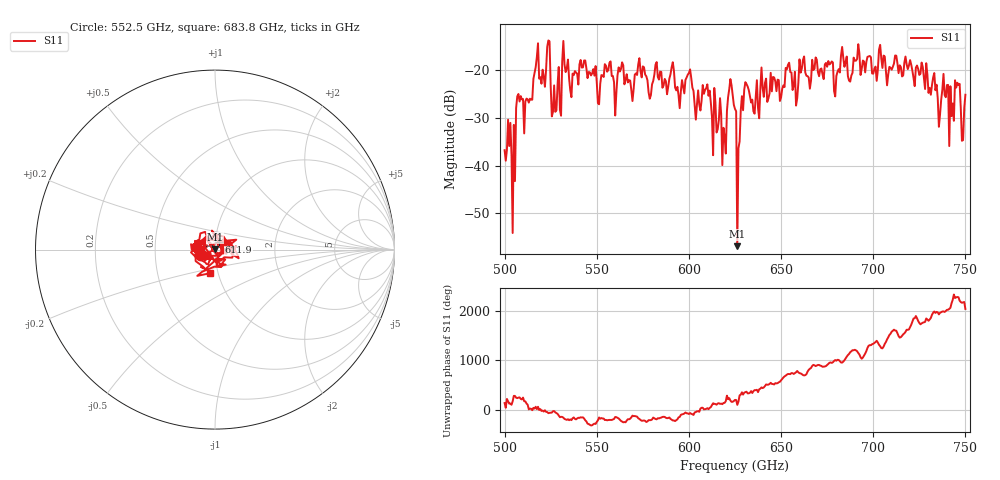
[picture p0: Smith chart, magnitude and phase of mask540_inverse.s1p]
!Created with skrf (http://scikit-rf.org).
# GHz S MA R 50.0
!freq magS11 angS11
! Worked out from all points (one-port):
!   401 points, 500 GHz to 750 GHz, reference 50 ohm
!   lowest |S11| = -56.9 dB at 626.2 GHz (marker M1), VSWR 1.00, Z = 50 + j0.134 ohm
!   |S11| at or under -10 dB: start of sweep to end of sweep
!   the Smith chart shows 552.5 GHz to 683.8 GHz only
!   S11 on the Smith chart (normalised r, x): 552.5 GHz: 0.85, -0.06; 611.9 GHz: 1.04, +0.09; 683.8 GHz: 0.91, -0.25
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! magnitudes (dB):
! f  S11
! 500 GHz  -36.8
! 505 GHz  -31.4
! 507.5 GHz  -24.9
! 511.9 GHz  -25.9
! 516.9 GHz  -19.3
! 523.8 GHz  -13.7
! 526.9 GHz  -23.1
! 531.2 GHz  -18.1
! 552.5 GHz  -21.0
! 562.5 GHz  -20.2
! 579.4 GHz  -25.2
! 590.6 GHz  -19.3
! 593.8 GHz  -23.4
! 600 GHz  -20.5
! 611.9 GHz  -26.7
! 619.4 GHz  -33.9
! 622.5 GHz  -21.8
! 624.4 GHz  -27.2
! 625 GHz  -28.1
! 626.2 GHz  -56.9
! 631.2 GHz  -22.9
! 656.2 GHz  -24.1
! 680 GHz  -21.2
! 683.8 GHz  -17.3
! 687.5 GHz  -22.3
! 691.2 GHz  -17.6
! 718.8 GHz  -19.7
! 750 GHz  -25.1
